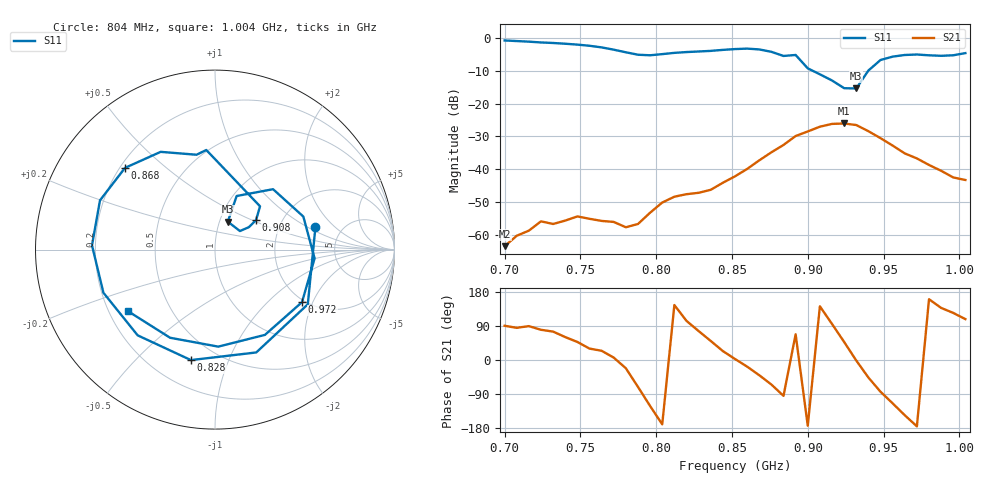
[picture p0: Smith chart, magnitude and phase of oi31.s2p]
# Hz S RI R 50
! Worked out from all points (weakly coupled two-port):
!   39 points, 700 MHz to 1.004 GHz, reference 50 ohm
!   highest |S21| = -26.03 dB at 924 MHz (marker M1); lowest = -63.5 dB at 700 MHz (marker M2)
!   lowest |S11| = -15.3 dB at 932 MHz (marker M3), VSWR 1.41, Z = 54.8 + j17.6 ohm
!   |S11| at or under -10 dB: 903.6 MHz to 939.8 MHz (36.12 MHz wide, 3.92 % of centre)
!   S12 and S22 are empty: the file has one direction only
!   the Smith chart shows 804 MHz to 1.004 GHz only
!   S11 on the Smith chart (normalised r, x): 804 MHz: 3.19, +1.22; 828 MHz: 0.36, -0.74; 868 MHz: 0.22, +0.37; 908 MHz: 1.48, +0.53; 972 MHz: 1.93, -1.67; 1.004 GHz: 0.28, -0.29
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7e8  0.7647 0.5274  -3.52e-06 0.000665  0 0  0 0
7.24e8  0.8273 -0.2554  0.000284 0.00157  0 0  0 0
7.4e8  0.4445 -0.6983  0.000807 0.00142  0 0  0 0
7.56e8  -0.1955 -0.7453  0.00151 0.000875  0 0  0 0
7.72e8  -0.6462 -0.1821  0.00155 0.000171  0 0  0 0
7.8e8  -0.5671 0.2302  0.0012 -0.000482  0 0  0 0
7.88e8  -0.2136 0.5197  0.000472 -0.00137  0 0  0 0
7.96e8  0.2621 0.4851  -0.00113 -0.00184  0 0  0 0
8.04e8  0.5598 0.1278  -0.00304 -0.00055  0 0  0 0
8.2e8  0.2299 -0.573  -0.000951 0.00404  0 0  0 0
8.28e8  -0.1341 -0.6156  0.00103 0.00423  0 0  0 0
8.52e8  -0.6853 0.0237  0.00777 0.000364  0 0  0 0
8.68e8  -0.5015 0.4553  0.0104 -0.0088  0 0  0 0
8.92e8  -0.0485 0.5549  0.0121 0.0298  0 0  0 0
9.08e8  0.2289 0.1648  -0.035 0.0277  0 0  0 0
9.24e8  0.1389 0.1034  0.0336 0.0369  0 0  0 0
9.32e8  0.0716 0.1557  0.0473 -0.00116  0 0  0 0
9.48e8  0.3234 0.3366  0.00327 -0.0296  0 0  0 0
9.56e8  0.4922 0.1841  -0.00948 -0.0209  0 0  0 0
9.72e8  0.4848 -0.2927  -0.0145 -0.00125  0 0  0 0
9.88e8  0.0179 -0.5406  -0.00696 0.00639  0 0  0 0
1.004e9  -0.4868 -0.3418  -0.00209 0.0065  0 0  0 0
